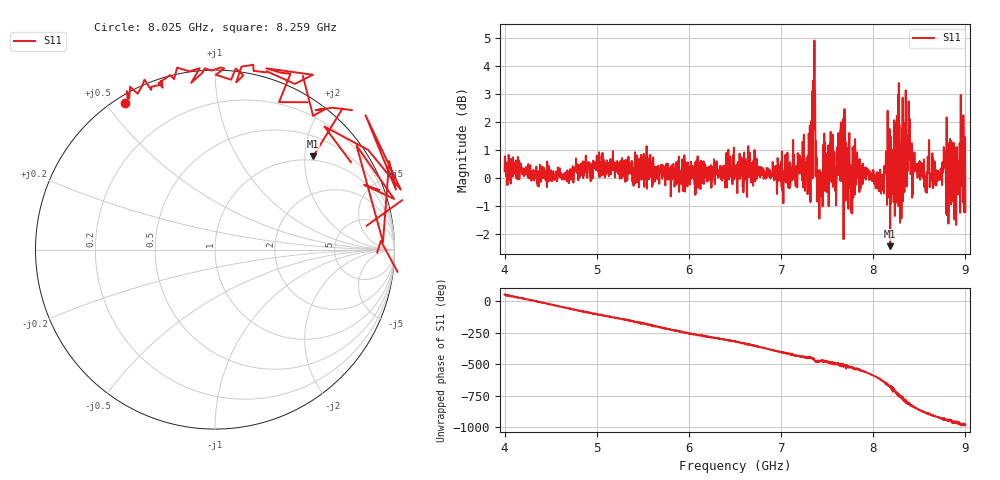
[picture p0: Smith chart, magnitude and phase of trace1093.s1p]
! Created with skrf 1.8.0 (http://scikit-rf.org).
# Hz S RI R 50.0
!freq ReS11 ImS11
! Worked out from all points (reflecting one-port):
!   1601 points, 4 GHz to 9 GHz, reference 50 ohm
!   lowest |S11| = -2.4 dB at 8.184 GHz (marker M1), VSWR 7.19, Z = 45.1 + j109 ohm
!   phase of S11 starts at 53 deg and turns -1034 deg over the sweep
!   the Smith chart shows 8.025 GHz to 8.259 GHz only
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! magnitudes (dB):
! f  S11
! 4 GHz  0.2
! 4.625 GHz  -0.1
! 5.25 GHz  0.0
! 5.875 GHz  0.2
! 6.5 GHz  0.1
! 7.125 GHz  0.5
! 7.294 GHz  0.1
! 7.347 GHz  3.5
! 7.372 GHz  1.8
! 7.4 GHz  0.1
! 7.428 GHz  -0.6
! 7.481 GHz  -0.5
! 7.588 GHz  -0.5
! 7.65 GHz  2.0
! 7.75 GHz  -0.3
! 8.184 GHz  -2.4
! 8.209 GHz  0.7
! 8.262 GHz  -0.5
! 8.312 GHz  1.7
! 8.334 GHz  1.4
! 8.375 GHz  0.8
! 8.425 GHz  0.3
! 8.556 GHz  -0.3
! 8.775 GHz  0.7
! 8.875 GHz  0.6
! 8.956 GHz  0.1
! 8.972 GHz  0.8
! 9 GHz  -1.2
